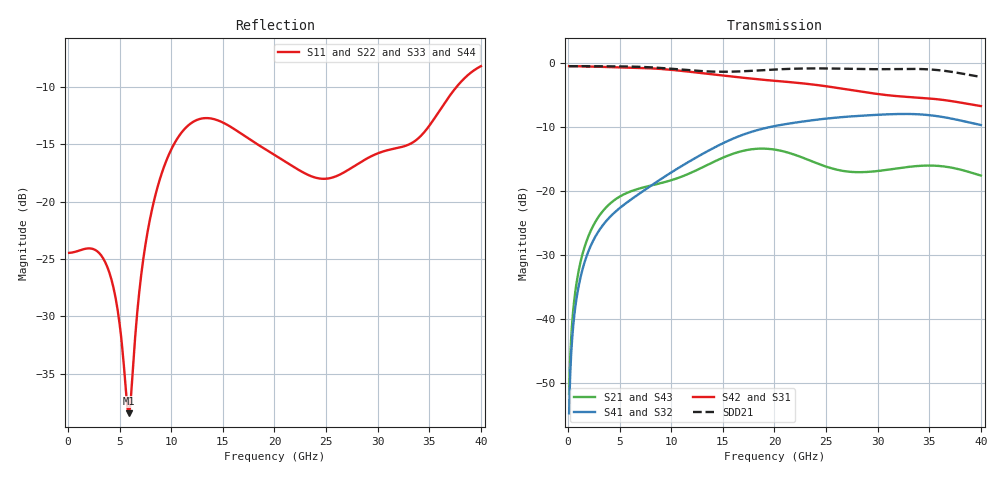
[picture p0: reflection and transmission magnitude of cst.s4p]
! E_s8_L1L8_p800_round_g2: pair L1→L8, pitch 0.8 mm, two round antipads, 2 GND vias
! stackup: 8-layer 1.6 mm FR-4 (generic)
! ports: 1 P near, 2 N near, 3 P far, 4 N far
! CST Studio Suite 2025.5 Release from 2025-05-30, time domain (FIT, hexahedral, PBA), 157248 mesh cells, 41 s
! mesh: {'lpw': 20, 'lpb': 20, 'minstep': 0.0, 'ratio': 20}; ports: port 1 (face); port 2 (face); port 3 (face); port 4 (face)
! interpolated from CST's 1001 samples to the case grid
# Hz S RI R 50
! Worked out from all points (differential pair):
!   400 points, 100 MHz to 40 GHz, reference 50 ohm
!   strongest paths, dB at 100 MHz, 10.1 GHz, 20.1 GHz, 30.1 GHz, 40 GHz:
!     S42: -0.5, -1.1, -2.8, -4.9, -6.8
!     S31: -0.5, -1.1, -2.8, -4.9, -6.8
!     S41: -54.7, -17.0, -9.9, -8.1, -9.7
!     S32: -54.7, -17.0, -9.9, -8.1, -9.7
!     S21: -51.6, -18.3, -13.6, -16.9, -17.6
!     S43: -51.6, -18.3, -13.6, -16.9, -17.6
!   taken as a pair (ports 2,1 in; 4,3 out), SDD21 dB: -0.5, -1.0, -1.1, -1.0, -2.2
!   lowest |S11| = -38.5 dB at 5.9 GHz (marker M1), VSWR 1.02, Z = 50.3 + j1.17 ohm
!   |S11| at or under -10 dB: start of sweep to 37.63 GHz
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1e8  -0.0596 0.00429  0.00125 0.00231  0.9388 -0.0361  0.000373 -0.00181
     0.00125 0.00231  -0.0596 0.00429  0.000373 -0.00181  0.9388 -0.0361
     0.9388 -0.0361  0.000373 -0.00181  -0.0596 0.00429  0.00125 0.00231
     0.000373 -0.00181  0.9388 -0.0361  0.00125 0.00231  -0.0596 0.00429
1.5e9  -0.0318 0.0532  0.0211 0.0272  0.7856 -0.5095  -0.0158 -0.0209
       0.0211 0.0272  -0.0318 0.0532  -0.0158 -0.0209  0.7856 -0.5095
       0.7856 -0.5095  -0.0158 -0.0209  -0.0318 0.0532  0.0211 0.0272
       -0.0158 -0.0209  0.7856 -0.5095  0.0211 0.0272  -0.0318 0.0532
5.9e9  0.00281 0.0116  0.0687 -0.0698  -0.574 -0.7145  -0.056 0.0619
       0.0687 -0.0698  0.00281 0.0116  -0.056 0.0619  -0.574 -0.7145
       -0.574 -0.7145  -0.056 0.0619  0.0028 0.0116  0.0687 -0.0698
       -0.056 0.0619  -0.574 -0.7145  0.0687 -0.0698  0.0028 0.0116
1.21e10  0.2047 0.0877  -0.1385 -0.0253  -0.0791 0.8408  0.1759 0.0107
         -0.1385 -0.0253  0.2047 0.0877  0.1759 0.0107  -0.0791 0.8408
         -0.0791 0.8408  0.1759 0.0107  0.2047 0.0877  -0.1385 -0.0253
         0.1759 0.0107  -0.0791 0.8408  -0.1385 -0.0253  0.2047 0.0877
2.03e10  -0.0316 -0.1537  0.2081 -0.00679  0.1395 -0.7054  -0.3191 0.0539
         0.2081 -0.00679  -0.0316 -0.1537  -0.3191 0.0539  0.1395 -0.7054
         0.1395 -0.7054  -0.3191 0.0539  -0.0316 -0.1538  0.2081 -0.0068
         -0.3191 0.0539  0.1395 -0.7054  0.2081 -0.0068  -0.0316 -0.1538
2.88e10  0.0483 0.145  -0.1392 0.0184  -0.109 0.5781  0.3352 -0.1946
         -0.1392 0.0184  0.0483 0.145  0.3352 -0.1946  -0.109 0.5781
         -0.109 0.5781  0.3352 -0.1946  0.0483 0.1451  -0.1392 0.0184
         0.3352 -0.1946  -0.109 0.5781  -0.1392 0.0184  0.0483 0.1451
4e10  0.1877 -0.3418  -0.1128 -0.0682  -0.3255 -0.3234  0.1392 0.2957
      -0.1128 -0.0682  0.1877 -0.3418  0.1392 0.2957  -0.3255 -0.3234
      -0.3255 -0.3234  0.1392 0.2957  0.1877 -0.3418  -0.1128 -0.0682
      0.1392 0.2957  -0.3255 -0.3234  -0.1128 -0.0682  0.1877 -0.3418
